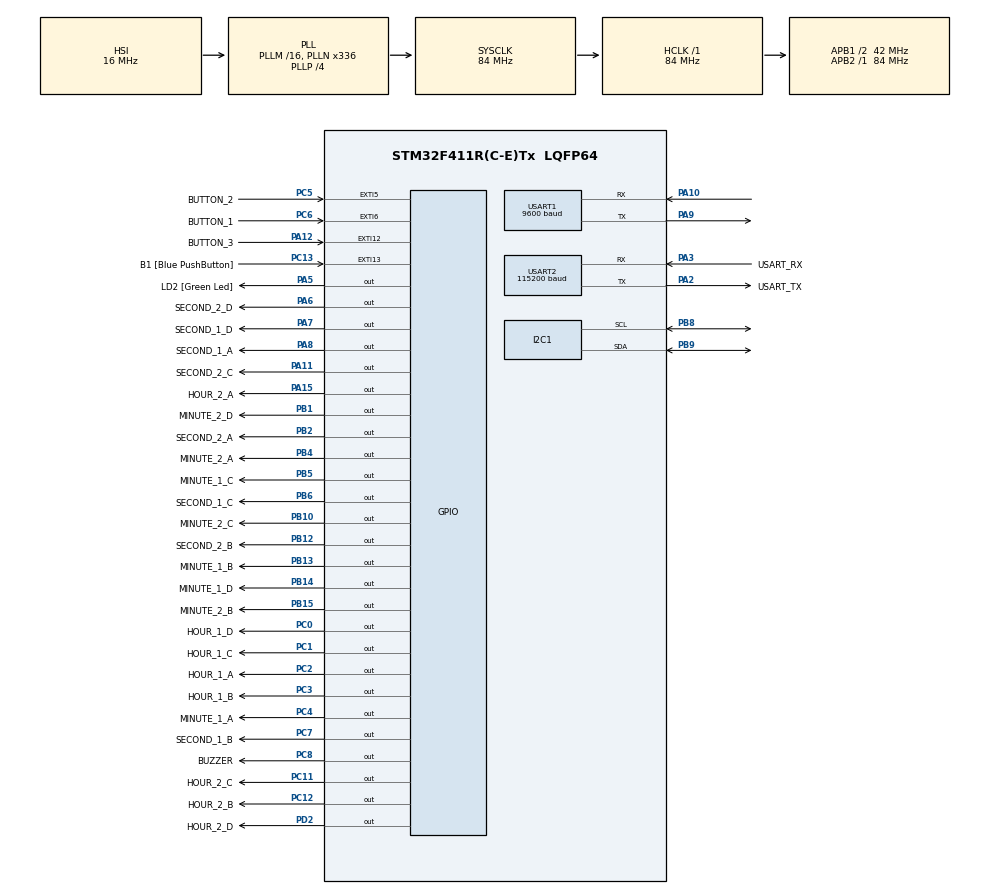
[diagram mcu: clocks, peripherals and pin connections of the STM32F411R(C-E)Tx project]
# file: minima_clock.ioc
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Mcu.Family=STM32F4
Mcu.Name=STM32F411R(C-E)Tx
Mcu.Package=LQFP64
NVIC.EXTI15_10_IRQn=true\:0\:0\:false\:false\:true\:true\:true
NVIC.EXTI9_5_IRQn=true\:0\:0\:false\:false\:true\:true\:true
NVIC.I2C1_EV_IRQn=true\:0\:0\:false\:false\:true\:true\:true
NVIC.PriorityGroup=NVIC_PRIORITYGROUP_0
NVIC.USART1_IRQn=true\:0\:0\:false\:false\:true\:true\:true
PA10.Mode=Asynchronous
PA10.Signal=USART1_RX
PA11.GPIO_Label=SECOND_2_C
PA11.Signal=GPIO_Output
PA12.GPIO_Label=BUTTON_3
PA12.GPIO_ModeDefaultEXTI=GPIO_MODE_IT_FALLING
PA12.GPIO_PuPd=GPIO_PULLUP
PA12.Signal=GPXTI12
PA13.GPIO_Label=TMS
PA13.Mode=Serial_Wire
PA13.Signal=SYS_JTMS-SWDIO
PA14.GPIO_Label=TCK
PA14.Mode=Serial_Wire
PA14.Signal=SYS_JTCK-SWCLK
PA15.GPIO_Label=HOUR_2_A
PA15.Signal=GPIO_Output
PA2.GPIO_Label=USART_TX
PA2.Mode=Asynchronous
PA2.Signal=USART2_TX
PA3.GPIO_Label=USART_RX
PA3.Mode=Asynchronous
PA3.Signal=USART2_RX
PA5.GPIO_Label=LD2 [Green Led]
PA5.Signal=GPIO_Output
PA6.GPIO_Label=SECOND_2_D
PA6.Signal=GPIO_Output
PA7.GPIO_Label=SECOND_1_D
PA7.Signal=GPIO_Output
PA8.GPIO_Label=SECOND_1_A
PA8.Signal=GPIO_Output
PA9.Mode=Asynchronous
PA9.Signal=USART1_TX
PB1.GPIO_Label=MINUTE_2_D
PB1.Signal=GPIO_Output
PB10.GPIO_Label=MINUTE_2_C
PB10.Signal=GPIO_Output
PB12.GPIO_Label=SECOND_2_B
PB12.Signal=GPIO_Output
PB13.GPIO_Label=MINUTE_1_B
PB13.Signal=GPIO_Output
PB14.GPIO_Label=MINUTE_1_D
PB14.Signal=GPIO_Output
PB15.GPIO_Label=MINUTE_2_B
PB15.Signal=GPIO_Output
PB2.GPIO_Label=SECOND_2_A
PB2.Signal=GPIO_Output
PB4.GPIO_Label=MINUTE_2_A
PB4.Signal=GPIO_Output
PB5.GPIO_Label=MINUTE_1_C
PB5.Signal=GPIO_Output
PB6.GPIO_Label=SECOND_1_C
PB6.Signal=GPIO_Output
PB8.Mode=I2C
PB8.Signal=I2C1_SCL
PB9.Mode=I2C
PB9.Signal=I2C1_SDA
PC0.GPIO_Label=HOUR_1_D
PC0.Signal=GPIO_Output
PC1.GPIO_Label=HOUR_1_C
PC1.Signal=GPIO_Output
PC11.GPIO_Label=HOUR_2_C
PC11.Signal=GPIO_Output
PC12.GPIO_Label=HOUR_2_B
PC12.Signal=GPIO_Output
PC13-ANTI_TAMP.GPIO_Label=B1 [Blue PushButton]
PC13-ANTI_TAMP.GPIO_ModeDefaultEXTI=GPIO_MODE_IT_FALLING
PC13-ANTI_TAMP.Signal=GPXTI13
PC14-OSC32_IN.Mode=LSE-External-Oscillator
PC14-OSC32_IN.Signal=RCC_OSC32_IN
PC15-OSC32_OUT.Mode=LSE-External-Oscillator
PC15-OSC32_OUT.Signal=RCC_OSC32_OUT
PC2.GPIO_Label=HOUR_1_A
PC2.Signal=GPIO_Output
PC3.GPIO_Label=HOUR_1_B
PC3.Signal=GPIO_Output
PC4.GPIO_Label=MINUTE_1_A
PC4.Signal=GPIO_Output
PC5.GPIO_Label=BUTTON_2
PC5.GPIO_ModeDefaultEXTI=GPIO_MODE_IT_FALLING
PC5.GPIO_PuPd=GPIO_PULLUP
PC5.Signal=GPXTI5
PC6.GPIO_Label=BUTTON_1
PC6.GPIO_ModeDefaultEXTI=GPIO_MODE_IT_FALLING
PC6.GPIO_PuPd=GPIO_PULLUP
PC6.Signal=GPXTI6
PC7.GPIO_Label=SECOND_1_B
PC7.Signal=GPIO_Output
PC8.GPIO_Label=BUZZER
PC8.Signal=GPIO_Output
PD2.GPIO_Label=HOUR_2_D
PD2.Signal=GPIO_Output
PH0\ -\ OSC_IN.Mode=HSE-External-Clock-Source
PH0\ -\ OSC_IN.Signal=RCC_OSC_IN
PH1\ -\ OSC_OUT.Mode=HSE-External-Clock-Source
PH1\ -\ OSC_OUT.Signal=RCC_OSC_OUT
ProjectManager.HeapSize=0x200
ProjectManager.StackSize=0x400
ProjectManager.TargetToolchain=STM32CubeIDE
RCC.48MHZClocksFreq_Value=84000000
RCC.AHBFreq_Value=84000000
RCC.APB1CLKDivider=RCC_HCLK_DIV2
RCC.APB1Freq_Value=42000000
RCC.APB1TimFreq_Value=84000000
RCC.APB2Freq_Value=84000000
RCC.APB2TimFreq_Value=84000000
RCC.CortexFreq_Value=84000000
RCC.FLatency-AdvancedSettings=FLASH_LATENCY_2
RCC.HCLKFreq_Value=84000000
RCC.HSE_VALUE=8000000
RCC.HSI_VALUE=16000000
RCC.PLLN=336
RCC.PLLP=RCC_PLLP_DIV4
RCC.SYSCLKFreq_VALUE=84000000
RCC.SYSCLKSource=RCC_SYSCLKSOURCE_PLLCLK
RCC.VCOOutputFreq_Value=336000000
USART1.BaudRate=9600
USART1.VirtualMode=VM_ASYNC
USART2.BaudRate=115200
USART2.VirtualMode=VM_ASYNC
board=NUCLEO-F411RE

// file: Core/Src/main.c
/* USER CODE BEGIN Header */
/**
 ******************************************************************************
 * @file           : main.c
 * @brief          : Main program body
 ******************************************************************************
 * @attention
 *
 ******************************************************************************
 */
/* USER CODE END Header */

#include "main.h"

/* USER CODE BEGIN Includes */
#include <DS3231.h>
#include <gps_neo6.h>
#include <stdio.h>
#include <stdarg.h>
#include <stdlib.h>
#include <string.h>
/* USER CODE END Includes */

I2C_HandleTypeDef hi2c1;

UART_HandleTypeDef huart1;
UART_HandleTypeDef huart2;

/* USER CODE BEGIN PV */

RTC_data rtc;	// Date and Time variable
RTC_setup rtc_setup;

uint8_t muttexButton1 = 0;
uint8_t muttexButton2 = 0;
uint8_t muttexButton3 = 0;
uint8_t configMode = 0;

uint8_t alarmHour = 0;
uint8_t alarmMinute = 0;
uint8_t alarmDeactivate = 0;

/** Config mode 1 */

signed short timeOffset = 0;

/* USER CODE END PV */

void SystemClock_Config(void);
static void MX_GPIO_Init(void);
static void MX_USART2_UART_Init(void);
static void MX_I2C1_Init(void);
static void MX_USART1_UART_Init(void);
/* USER CODE BEGIN PFP */
/*
 void vprint(const char *fmt, va_list argp) {
 char string[200];
 if (0 < vsprintf(string, fmt, argp)) // build string
 {
 HAL_UART_Transmit(&huart2, (uint8_t*) string, strlen(string), 0xffffff); // send message via UART
 }
 }

 void my_printf(const char *fmt, ...) // custom printf() function
 {
 va_list argp;
 va_start(argp, fmt);
 vprint(fmt, argp);
 va_end(argp);
 }
 */
/* USER CODE END PFP */

/* USER CODE BEGIN 0 */

void SprintHour_1(int digit) {
	switch (digit) {
	case 0:
		HAL_GPIO_WritePin(HOUR_1_D_GPIO_Port, HOUR_1_D_Pin, GPIO_PIN_RESET);
		HAL_GPIO_WritePin(HOUR_1_C_GPIO_Port, HOUR_1_C_Pin, GPIO_PIN_RESET);
		HAL_GPIO_WritePin(HOUR_1_B_GPIO_Port, HOUR_1_B_Pin, GPIO_PIN_RESET);
		HAL_GPIO_WritePin(HOUR_1_A_GPIO_Port, HOUR_1_A_Pin, GPIO_PIN_RESET);
		break;
	case 1:
		HAL_GPIO_WritePin(HOUR_1_D_GPIO_Port, HOUR_1_D_Pin, GPIO_PIN_RESET);
		HAL_GPIO_WritePin(HOUR_1_C_GPIO_Port, HOUR_1_C_Pin, GPIO_PIN_RESET);
		HAL_GPIO_WritePin(HOUR_1_B_GPIO_Port, HOUR_1_B_Pin, GPIO_PIN_RESET);
		HAL_GPIO_WritePin(HOUR_1_A_GPIO_Port, HOUR_1_A_Pin, GPIO_PIN_SET);
		break;
	case 2:
		HAL_GPIO_WritePin(HOUR_1_D_GPIO_Port, HOUR_1_D_Pin, GPIO_PIN_RESET);
		HAL_GPIO_WritePin(HOUR_1_C_GPIO_Port, HOUR_1_C_Pin, GPIO_PIN_RESET);
		HAL_GPIO_WritePin(HOUR_1_B_GPIO_Port, HOUR_1_B_Pin, GPIO_PIN_SET);
		HAL_GPIO_WritePin(HOUR_1_A_GPIO_Port, HOUR_1_A_Pin, GPIO_PIN_RESET);
		break;
	case 3:
		HAL_GPIO_WritePin(HOUR_1_D_GPIO_Port, HOUR_1_D_Pin, GPIO_PIN_RESET);
		HAL_GPIO_WritePin(HOUR_1_C_GPIO_Port, HOUR_1_C_Pin, GPIO_PIN_RESET);
		HAL_GPIO_WritePin(HOUR_1_B_GPIO_Port, HOUR_1_B_Pin, GPIO_PIN_SET);
		HAL_GPIO_WritePin(HOUR_1_A_GPIO_Port, HOUR_1_A_Pin, GPIO_PIN_SET);
		break;
	case 4:
		HAL_GPIO_WritePin(HOUR_1_D_GPIO_Port, HOUR_1_D_Pin, GPIO_PIN_RESET);
		HAL_GPIO_WritePin(HOUR_1_C_GPIO_Port, HOUR_1_C_Pin, GPIO_PIN_SET);
		HAL_GPIO_WritePin(HOUR_1_B_GPIO_Port, HOUR_1_B_Pin, GPIO_PIN_RESET);
		HAL_GPIO_WritePin(HOUR_1_A_GPIO_Port, HOUR_1_A_Pin, GPIO_PIN_RESET);
		break;
	case 5:
		HAL_GPIO_WritePin(HOUR_1_D_GPIO_Port, HOUR_1_D_Pin, GPIO_PIN_RESET);
		HAL_GPIO_WritePin(HOUR_1_C_GPIO_Port, HOUR_1_C_Pin, GPIO_PIN_SET);
		HAL_GPIO_WritePin(HOUR_1_B_GPIO_Port, HOUR_1_B_Pin, GPIO_PIN_RESET);
		HAL_GPIO_WritePin(HOUR_1_A_GPIO_Port, HOUR_1_A_Pin, GPIO_PIN_SET);
		break;
	case 6:
		HAL_GPIO_WritePin(HOUR_1_D_GPIO_Port, HOUR_1_D_Pin, GPIO_PIN_RESET);
		HAL_GPIO_WritePin(HOUR_1_C_GPIO_Port, HOUR_1_C_Pin, GPIO_PIN_SET);
		HAL_GPIO_WritePin(HOUR_1_B_GPIO_Port, HOUR_1_B_Pin, GPIO_PIN_SET);
		HAL_GPIO_WritePin(HOUR_1_A_GPIO_Port, HOUR_1_A_Pin, GPIO_PIN_RESET);
		break;
	case 7:
		HAL_GPIO_WritePin(HOUR_1_D_GPIO_Port, HOUR_1_D_Pin, GPIO_PIN_RESET);
		HAL_GPIO_WritePin(HOUR_1_C_GPIO_Port, HOUR_1_C_Pin, GPIO_PIN_SET);
		HAL_GPIO_WritePin(HOUR_1_B_GPIO_Port, HOUR_1_B_Pin, GPIO_PIN_SET);
		HAL_GPIO_WritePin(HOUR_1_A_GPIO_Port, HOUR_1_A_Pin, GPIO_PIN_SET);
		break;
	case 8:
		HAL_GPIO_WritePin(HOUR_1_D_GPIO_Port, HOUR_1_D_Pin, GPIO_PIN_SET);
		HAL_GPIO_WritePin(HOUR_1_C_GPIO_Port, HOUR_1_C_Pin, GPIO_PIN_RESET);
		HAL_GPIO_WritePin(HOUR_1_B_GPIO_Port, HOUR_1_B_Pin, GPIO_PIN_RESET);
		HAL_GPIO_WritePin(HOUR_1_A_GPIO_Port, HOUR_1_A_Pin, GPIO_PIN_RESET);
		break;
	case 9:
		HAL_GPIO_WritePin(HOUR_1_D_GPIO_Port, HOUR_1_D_Pin, GPIO_PIN_SET);
		HAL_GPIO_WritePin(HOUR_1_C_GPIO_Port, HOUR_1_C_Pin, GPIO_PIN_RESET);
		HAL_GPIO_WritePin(HOUR_1_B_GPIO_Port, HOUR_1_B_Pin, GPIO_PIN_RESET);
		HAL_GPIO_WritePin(HOUR_1_A_GPIO_Port, HOUR_1_A_Pin, GPIO_PIN_SET);
		break;
	default:
		break;
	}
}

void SprintHour_2(int digit) {
	switch (digit) {
	case 0:
		HAL_GPIO_WritePin(HOUR_2_D_GPIO_Port, HOUR_2_D_Pin, GPIO_PIN_RESET);
		HAL_GPIO_WritePin(HOUR_2_C_GPIO_Port, HOUR_2_C_Pin, GPIO_PIN_RESET);
		HAL_GPIO_WritePin(HOUR_2_B_GPIO_Port, HOUR_2_B_Pin, GPIO_PIN_RESET);
		HAL_GPIO_WritePin(HOUR_2_A_GPIO_Port, HOUR_2_A_Pin, GPIO_PIN_RESET);
		break;
	case 1:
		HAL_GPIO_WritePin(HOUR_2_D_GPIO_Port, HOUR_2_D_Pin, GPIO_PIN_RESET);
		HAL_GPIO_WritePin(HOUR_2_C_GPIO_Port, HOUR_2_C_Pin, GPIO_PIN_RESET);
		HAL_GPIO_WritePin(HOUR_2_B_GPIO_Port, HOUR_2_B_Pin, GPIO_PIN_RESET);
		HAL_GPIO_WritePin(HOUR_2_A_GPIO_Port, HOUR_2_A_Pin, GPIO_PIN_SET);
		break;
	case 2:
		HAL_GPIO_WritePin(HOUR_2_D_GPIO_Port, HOUR_2_D_Pin, GPIO_PIN_RESET);
		HAL_GPIO_WritePin(HOUR_2_C_GPIO_Port, HOUR_2_C_Pin, GPIO_PIN_RESET);
		HAL_GPIO_WritePin(HOUR_2_B_GPIO_Port, HOUR_2_B_Pin, GPIO_PIN_SET);
		HAL_GPIO_WritePin(HOUR_2_A_GPIO_Port, HOUR_2_A_Pin, GPIO_PIN_RESET);
		break;
	case 3:
		HAL_GPIO_WritePin(HOUR_2_D_GPIO_Port, HOUR_2_D_Pin, GPIO_PIN_RESET);
		HAL_GPIO_WritePin(HOUR_2_C_GPIO_Port, HOUR_2_C_Pin, GPIO_PIN_RESET);
		HAL_GPIO_WritePin(HOUR_2_B_GPIO_Port, HOUR_2_B_Pin, GPIO_PIN_SET);
		HAL_GPIO_WritePin(HOUR_2_A_GPIO_Port, HOUR_2_A_Pin, GPIO_PIN_SET);
		break;
	case 4:
		HAL_GPIO_WritePin(HOUR_2_D_GPIO_Port, HOUR_2_D_Pin, GPIO_PIN_RESET);
		HAL_GPIO_WritePin(HOUR_2_C_GPIO_Port, HOUR_2_C_Pin, GPIO_PIN_SET);
		HAL_GPIO_WritePin(HOUR_2_B_GPIO_Port, HOUR_2_B_Pin, GPIO_PIN_RESET);
		HAL_GPIO_WritePin(HOUR_2_A_GPIO_Port, HOUR_2_A_Pin, GPIO_PIN_RESET);
		break;
	case 5:
		HAL_GPIO_WritePin(HOUR_2_D_GPIO_Port, HOUR_2_D_Pin, GPIO_PIN_RESET);
		HAL_GPIO_WritePin(HOUR_2_C_GPIO_Port, HOUR_2_C_Pin, GPIO_PIN_SET);
		HAL_GPIO_WritePin(HOUR_2_B_GPIO_Port, HOUR_2_B_Pin, GPIO_PIN_RESET);
		HAL_GPIO_WritePin(HOUR_2_A_GPIO_Port, HOUR_2_A_Pin, GPIO_PIN_SET);
		break;
	case 6:
		HAL_GPIO_WritePin(HOUR_2_D_GPIO_Port, HOUR_2_D_Pin, GPIO_PIN_RESET);
		HAL_GPIO_WritePin(HOUR_2_C_GPIO_Port, HOUR_2_C_Pin, GPIO_PIN_SET);
		HAL_GPIO_WritePin(HOUR_2_B_GPIO_Port, HOUR_2_B_Pin, GPIO_PIN_SET);
		HAL_GPIO_WritePin(HOUR_2_A_GPIO_Port, HOUR_2_A_Pin, GPIO_PIN_RESET);
		break;
	case 7:
		HAL_GPIO_WritePin(HOUR_2_D_GPIO_Port, HOUR_2_D_Pin, GPIO_PIN_RESET);
		HAL_GPIO_WritePin(HOUR_2_C_GPIO_Port, HOUR_2_C_Pin, GPIO_PIN_SET);
		HAL_GPIO_WritePin(HOUR_2_B_GPIO_Port, HOUR_2_B_Pin, GPIO_PIN_SET);
		HAL_GPIO_WritePin(HOUR_2_A_GPIO_Port, HOUR_2_A_Pin, GPIO_PIN_SET);
		break;
	case 8:
		HAL_GPIO_WritePin(HOUR_2_D_GPIO_Port, HOUR_2_D_Pin, GPIO_PIN_SET);
		HAL_GPIO_WritePin(HOUR_2_C_GPIO_Port, HOUR_2_C_Pin, GPIO_PIN_RESET);
		HAL_GPIO_WritePin(HOUR_2_B_GPIO_Port, HOUR_2_B_Pin, GPIO_PIN_RESET);
		HAL_GPIO_WritePin(HOUR_2_A_GPIO_Port, HOUR_2_A_Pin, GPIO_PIN_RESET);
		break;
	case 9:
		HAL_GPIO_WritePin(HOUR_2_D_GPIO_Port, HOUR_2_D_Pin, GPIO_PIN_SET);
		HAL_GPIO_WritePin(HOUR_2_C_GPIO_Port, HOUR_2_C_Pin, GPIO_PIN_RESET);
		HAL_GPIO_WritePin(HOUR_2_B_GPIO_Port, HOUR_2_B_Pin, GPIO_PIN_RESET);
		HAL_GPIO_WritePin(HOUR_2_A_GPIO_Port, HOUR_2_A_Pin, GPIO_PIN_SET);
		break;
	default:
		break;
	}
}

void SprintMinute_1(int digit) {
	switch (digit) {
	case 0:
		HAL_GPIO_WritePin(MINUTE_1_D_GPIO_Port, MINUTE_1_D_Pin, GPIO_PIN_RESET);
		HAL_GPIO_WritePin(MINUTE_1_C_GPIO_Port, MINUTE_1_C_Pin, GPIO_PIN_RESET);
		HAL_GPIO_WritePin(MINUTE_1_B_GPIO_Port, MINUTE_1_B_Pin, GPIO_PIN_RESET);
		HAL_GPIO_WritePin(MINUTE_1_A_GPIO_Port, MINUTE_1_A_Pin, GPIO_PIN_RESET);
		break;
	case 1:
		HAL_GPIO_WritePin(MINUTE_1_D_GPIO_Port, MINUTE_1_D_Pin, GPIO_PIN_RESET);
		HAL_GPIO_WritePin(MINUTE_1_C_GPIO_Port, MINUTE_1_C_Pin, GPIO_PIN_RESET);
		HAL_GPIO_WritePin(MINUTE_1_B_GPIO_Port, MINUTE_1_B_Pin, GPIO_PIN_RESET);
		HAL_GPIO_WritePin(MINUTE_1_A_GPIO_Port, MINUTE_1_A_Pin, GPIO_PIN_SET);
		break;
	case 2:
		HAL_GPIO_WritePin(MINUTE_1_D_GPIO_Port, MINUTE_1_D_Pin, GPIO_PIN_RESET);
		HAL_GPIO_WritePin(MINUTE_1_C_GPIO_Port, MINUTE_1_C_Pin, GPIO_PIN_RESET);
		HAL_GPIO_WritePin(MINUTE_1_B_GPIO_Port, MINUTE_1_B_Pin, GPIO_PIN_SET);
		HAL_GPIO_WritePin(MINUTE_1_A_GPIO_Port, MINUTE_1_A_Pin, GPIO_PIN_RESET);
		break;
	case 3:
		HAL_GPIO_WritePin(MINUTE_1_D_GPIO_Port, MINUTE_1_D_Pin, GPIO_PIN_RESET);
		HAL_GPIO_WritePin(MINUTE_1_C_GPIO_Port, MINUTE_1_C_Pin, GPIO_PIN_RESET);
		HAL_GPIO_WritePin(MINUTE_1_B_GPIO_Port, MINUTE_1_B_Pin, GPIO_PIN_SET);
		HAL_GPIO_WritePin(MINUTE_1_A_GPIO_Port, MINUTE_1_A_Pin, GPIO_PIN_SET);
		break;
	case 4:
		HAL_GPIO_WritePin(MINUTE_1_D_GPIO_Port, MINUTE_1_D_Pin, GPIO_PIN_RESET);
		HAL_GPIO_WritePin(MINUTE_1_C_GPIO_Port, MINUTE_1_C_Pin, GPIO_PIN_SET);
		HAL_GPIO_WritePin(MINUTE_1_B_GPIO_Port, MINUTE_1_B_Pin, GPIO_PIN_RESET);
		HAL_GPIO_WritePin(MINUTE_1_A_GPIO_Port, MINUTE_1_A_Pin, GPIO_PIN_RESET);
		break;
	case 5:
		HAL_GPIO_WritePin(MINUTE_1_D_GPIO_Port, MINUTE_1_D_Pin, GPIO_PIN_RESET);
		HAL_GPIO_WritePin(MINUTE_1_C_GPIO_Port, MINUTE_1_C_Pin, GPIO_PIN_SET);
		HAL_GPIO_WritePin(MINUTE_1_B_GPIO_Port, MINUTE_1_B_Pin, GPIO_PIN_RESET);
		HAL_GPIO_WritePin(MINUTE_1_A_GPIO_Port, MINUTE_1_A_Pin, GPIO_PIN_SET);
		break;
	case 6:
		HAL_GPIO_WritePin(MINUTE_1_D_GPIO_Port, MINUTE_1_D_Pin, GPIO_PIN_RESET);
		HAL_GPIO_WritePin(MINUTE_1_C_GPIO_Port, MINUTE_1_C_Pin, GPIO_PIN_SET);
		HAL_GPIO_WritePin(MINUTE_1_B_GPIO_Port, MINUTE_1_B_Pin, GPIO_PIN_SET);
		HAL_GPIO_WritePin(MINUTE_1_A_GPIO_Port, MINUTE_1_A_Pin, GPIO_PIN_RESET);
		break;
	case 7:
		HAL_GPIO_WritePin(MINUTE_1_D_GPIO_Port, MINUTE_1_D_Pin, GPIO_PIN_RESET);
		HAL_GPIO_WritePin(MINUTE_1_C_GPIO_Port, MINUTE_1_C_Pin, GPIO_PIN_SET);
		HAL_GPIO_WritePin(MINUTE_1_B_GPIO_Port, MINUTE_1_B_Pin, GPIO_PIN_SET);
		HAL_GPIO_WritePin(MINUTE_1_A_GPIO_Port, MINUTE_1_A_Pin, GPIO_PIN_SET);
		break;
	case 8:
		HAL_GPIO_WritePin(MINUTE_1_D_GPIO_Port, MINUTE_1_D_Pin, GPIO_PIN_SET);
		HAL_GPIO_WritePin(MINUTE_1_C_GPIO_Port, MINUTE_1_C_Pin, GPIO_PIN_RESET);
		HAL_GPIO_WritePin(MINUTE_1_B_GPIO_Port, MINUTE_1_B_Pin, GPIO_PIN_RESET);
		HAL_GPIO_WritePin(MINUTE_1_A_GPIO_Port, MINUTE_1_A_Pin, GPIO_PIN_RESET);
		break;
	case 9:
		HAL_GPIO_WritePin(MINUTE_1_D_GPIO_Port, MINUTE_1_D_Pin, GPIO_PIN_SET);
		HAL_GPIO_WritePin(MINUTE_1_C_GPIO_Port, MINUTE_1_C_Pin, GPIO_PIN_RESET);
		HAL_GPIO_WritePin(MINUTE_1_B_GPIO_Port, MINUTE_1_B_Pin, GPIO_PIN_RESET);
		HAL_GPIO_WritePin(MINUTE_1_A_GPIO_Port, MINUTE_1_A_Pin, GPIO_PIN_SET);
		break;
	default:
		break;
	}
}

void SprintMinute_2(int digit) {
	switch (digit) {
	case 0:
		HAL_GPIO_WritePin(MINUTE_2_D_GPIO_Port, MINUTE_2_D_Pin, GPIO_PIN_RESET);
		HAL_GPIO_WritePin(MINUTE_2_C_GPIO_Port, MINUTE_2_C_Pin, GPIO_PIN_RESET);
		HAL_GPIO_WritePin(MINUTE_2_B_GPIO_Port, MINUTE_2_B_Pin, GPIO_PIN_RESET);
		HAL_GPIO_WritePin(MINUTE_2_A_GPIO_Port, MINUTE_2_A_Pin, GPIO_PIN_RESET);
		break;
	case 1:
		HAL_GPIO_WritePin(MINUTE_2_D_GPIO_Port, MINUTE_2_D_Pin, GPIO_PIN_RESET);
		HAL_GPIO_WritePin(MINUTE_2_C_GPIO_Port, MINUTE_2_C_Pin, GPIO_PIN_RESET);
		HAL_GPIO_WritePin(MINUTE_2_B_GPIO_Port, MINUTE_2_B_Pin, GPIO_PIN_RESET);
		HAL_GPIO_WritePin(MINUTE_2_A_GPIO_Port, MINUTE_2_A_Pin, GPIO_PIN_SET);
		break;
	case 2:
		HAL_GPIO_WritePin(MINUTE_2_D_GPIO_Port, MINUTE_2_D_Pin, GPIO_PIN_RESET);
		HAL_GPIO_WritePin(MINUTE_2_C_GPIO_Port, MINUTE_2_C_Pin, GPIO_PIN_RESET);
		HAL_GPIO_WritePin(MINUTE_2_B_GPIO_Port, MINUTE_2_B_Pin, GPIO_PIN_SET);
		HAL_GPIO_WritePin(MINUTE_2_A_GPIO_Port, MINUTE_2_A_Pin, GPIO_PIN_RESET);
		break;
	case 3:
		HAL_GPIO_WritePin(MINUTE_2_D_GPIO_Port, MINUTE_2_D_Pin, GPIO_PIN_RESET);
		HAL_GPIO_WritePin(MINUTE_2_C_GPIO_Port, MINUTE_2_C_Pin, GPIO_PIN_RESET);
		HAL_GPIO_WritePin(MINUTE_2_B_GPIO_Port, MINUTE_2_B_Pin, GPIO_PIN_SET);
		HAL_GPIO_WritePin(MINUTE_2_A_GPIO_Port, MINUTE_2_A_Pin, GPIO_PIN_SET);
		break;
	case 4:
		HAL_GPIO_WritePin(MINUTE_2_D_GPIO_Port, MINUTE_2_D_Pin, GPIO_PIN_RESET);
		HAL_GPIO_WritePin(MINUTE_2_C_GPIO_Port, MINUTE_2_C_Pin, GPIO_PIN_SET);
		HAL_GPIO_WritePin(MINUTE_2_B_GPIO_Port, MINUTE_2_B_Pin, GPIO_PIN_RESET);
		HAL_GPIO_WritePin(MINUTE_2_A_GPIO_Port, MINUTE_2_A_Pin, GPIO_PIN_RESET);
		break;
	case 5:
		HAL_GPIO_WritePin(MINUTE_2_D_GPIO_Port, MINUTE_2_D_Pin, GPIO_PIN_RESET);
		HAL_GPIO_WritePin(MINUTE_2_C_GPIO_Port, MINUTE_2_C_Pin, GPIO_PIN_SET);
		HAL_GPIO_WritePin(MINUTE_2_B_GPIO_Port, MINUTE_2_B_Pin, GPIO_PIN_RESET);
		HAL_GPIO_WritePin(MINUTE_2_A_GPIO_Port, MINUTE_2_A_Pin, GPIO_PIN_SET);
		break;
	case 6:
		HAL_GPIO_WritePin(MINUTE_2_D_GPIO_Port, MINUTE_2_D_Pin, GPIO_PIN_RESET);
		HAL_GPIO_WritePin(MINUTE_2_C_GPIO_Port, MINUTE_2_C_Pin, GPIO_PIN_SET);
		HAL_GPIO_WritePin(MINUTE_2_B_GPIO_Port, MINUTE_2_B_Pin, GPIO_PIN_SET);
		HAL_GPIO_WritePin(MINUTE_2_A_GPIO_Port, MINUTE_2_A_Pin, GPIO_PIN_RESET);
		break;
	case 7:
		HAL_GPIO_WritePin(MINUTE_2_D_GPIO_Port, MINUTE_2_D_Pin, GPIO_PIN_RESET);
		HAL_GPIO_WritePin(MINUTE_2_C_GPIO_Port, MINUTE_2_C_Pin, GPIO_PIN_SET);
		HAL_GPIO_WritePin(MINUTE_2_B_GPIO_Port, MINUTE_2_B_Pin, GPIO_PIN_SET);
		HAL_GPIO_WritePin(MINUTE_2_A_GPIO_Port, MINUTE_2_A_Pin, GPIO_PIN_SET);
		break;
	case 8:
		HAL_GPIO_WritePin(MINUTE_2_D_GPIO_Port, MINUTE_2_D_Pin, GPIO_PIN_SET);
		HAL_GPIO_WritePin(MINUTE_2_C_GPIO_Port, MINUTE_2_C_Pin, GPIO_PIN_RESET);
		HAL_GPIO_WritePin(MINUTE_2_B_GPIO_Port, MINUTE_2_B_Pin, GPIO_PIN_RESET);
		HAL_GPIO_WritePin(MINUTE_2_A_GPIO_Port, MINUTE_2_A_Pin, GPIO_PIN_RESET);
		break;
	case 9:
		HAL_GPIO_WritePin(MINUTE_2_D_GPIO_Port, MINUTE_2_D_Pin, GPIO_PIN_SET);
		HAL_GPIO_WritePin(MINUTE_2_C_GPIO_Port, MINUTE_2_C_Pin, GPIO_PIN_RESET);
		HAL_GPIO_WritePin(MINUTE_2_B_GPIO_Port, MINUTE_2_B_Pin, GPIO_PIN_RESET);
		HAL_GPIO_WritePin(MINUTE_2_A_GPIO_Port, MINUTE_2_A_Pin, GPIO_PIN_SET);
		break;
	default:
		break;
	}
}

void SprintSecond_1(int digit) {
	switch (digit) {
	case 0:
		HAL_GPIO_WritePin(SECOND_1_D_GPIO_Port, SECOND_1_D_Pin, GPIO_PIN_RESET);
		HAL_GPIO_WritePin(SECOND_1_C_GPIO_Port, SECOND_1_C_Pin, GPIO_PIN_RESET);
		HAL_GPIO_WritePin(SECOND_1_B_GPIO_Port, SECOND_1_B_Pin, GPIO_PIN_RESET);
		HAL_GPIO_WritePin(SECOND_1_A_GPIO_Port, SECOND_1_A_Pin, GPIO_PIN_RESET);
		break;
	case 1:
		HAL_GPIO_WritePin(SECOND_1_D_GPIO_Port, SECOND_1_D_Pin, GPIO_PIN_RESET);
		HAL_GPIO_WritePin(SECOND_1_C_GPIO_Port, SECOND_1_C_Pin, GPIO_PIN_RESET);
		HAL_GPIO_WritePin(SECOND_1_B_GPIO_Port, SECOND_1_B_Pin, GPIO_PIN_RESET);
		HAL_GPIO_WritePin(SECOND_1_A_GPIO_Port, SECOND_1_A_Pin, GPIO_PIN_SET);
		break;
	case 2:
		HAL_GPIO_WritePin(SECOND_1_D_GPIO_Port, SECOND_1_D_Pin, GPIO_PIN_RESET);
		HAL_GPIO_WritePin(SECOND_1_C_GPIO_Port, SECOND_1_C_Pin, GPIO_PIN_RESET);
		HAL_GPIO_WritePin(SECOND_1_B_GPIO_Port, SECOND_1_B_Pin, GPIO_PIN_SET);
		HAL_GPIO_WritePin(SECOND_1_A_GPIO_Port, SECOND_1_A_Pin, GPIO_PIN_RESET);
		break;
	case 3:
		HAL_GPIO_WritePin(SECOND_1_D_GPIO_Port, SECOND_1_D_Pin, GPIO_PIN_RESET);
		HAL_GPIO_WritePin(SECOND_1_C_GPIO_Port, SECOND_1_C_Pin, GPIO_PIN_RESET);
		HAL_GPIO_WritePin(SECOND_1_B_GPIO_Port, SECOND_1_B_Pin, GPIO_PIN_SET);
		HAL_GPIO_WritePin(SECOND_1_A_GPIO_Port, SECOND_1_A_Pin, GPIO_PIN_SET);
		break;
	case 4:
		HAL_GPIO_WritePin(SECOND_1_D_GPIO_Port, SECOND_1_D_Pin, GPIO_PIN_RESET);
		HAL_GPIO_WritePin(SECOND_1_C_GPIO_Port, SECOND_1_C_Pin, GPIO_PIN_SET);
		HAL_GPIO_WritePin(SECOND_1_B_GPIO_Port, SECOND_1_B_Pin, GPIO_PIN_RESET);
		HAL_GPIO_WritePin(SECOND_1_A_GPIO_Port, SECOND_1_A_Pin, GPIO_PIN_RESET);
		break;
	case 5:
		HAL_GPIO_WritePin(SECOND_1_D_GPIO_Port, SECOND_1_D_Pin, GPIO_PIN_RESET);
		HAL_GPIO_WritePin(SECOND_1_C_GPIO_Port, SECOND_1_C_Pin, GPIO_PIN_SET);
		HAL_GPIO_WritePin(SECOND_1_B_GPIO_Port, SECOND_1_B_Pin, GPIO_PIN_RESET);
		HAL_GPIO_WritePin(SECOND_1_A_GPIO_Port, SECOND_1_A_Pin, GPIO_PIN_SET);
		break;
	case 6:
		HAL_GPIO_WritePin(SECOND_1_D_GPIO_Port, SECOND_1_D_Pin, GPIO_PIN_RESET);
		HAL_GPIO_WritePin(SECOND_1_C_GPIO_Port, SECOND_1_C_Pin, GPIO_PIN_SET);
		HAL_GPIO_WritePin(SECOND_1_B_GPIO_Port, SECOND_1_B_Pin, GPIO_PIN_SET);
		HAL_GPIO_WritePin(SECOND_1_A_GPIO_Port, SECOND_1_A_Pin, GPIO_PIN_RESET);
		break;
	case 7:
		HAL_GPIO_WritePin(SECOND_1_D_GPIO_Port, SECOND_1_D_Pin, GPIO_PIN_RESET);
		HAL_GPIO_WritePin(SECOND_1_C_GPIO_Port, SECOND_1_C_Pin, GPIO_PIN_SET);
		HAL_GPIO_WritePin(SECOND_1_B_GPIO_Port, SECOND_1_B_Pin, GPIO_PIN_SET);
		HAL_GPIO_WritePin(SECOND_1_A_GPIO_Port, SECOND_1_A_Pin, GPIO_PIN_SET);
		break;
	case 8:
		HAL_GPIO_WritePin(SECOND_1_D_GPIO_Port, SECOND_1_D_Pin, GPIO_PIN_SET);
		HAL_GPIO_WritePin(SECOND_1_C_GPIO_Port, SECOND_1_C_Pin, GPIO_PIN_RESET);
		HAL_GPIO_WritePin(SECOND_1_B_GPIO_Port, SECOND_1_B_Pin, GPIO_PIN_RESET);
		HAL_GPIO_WritePin(SECOND_1_A_GPIO_Port, SECOND_1_A_Pin, GPIO_PIN_RESET);
		break;
	case 9:
		HAL_GPIO_WritePin(SECOND_1_D_GPIO_Port, SECOND_1_D_Pin, GPIO_PIN_SET);
		HAL_GPIO_WritePin(SECOND_1_C_GPIO_Port, SECOND_1_C_Pin, GPIO_PIN_RESET);
		HAL_GPIO_WritePin(SECOND_1_B_GPIO_Port, SECOND_1_B_Pin, GPIO_PIN_RESET);
		HAL_GPIO_WritePin(SECOND_1_A_GPIO_Port, SECOND_1_A_Pin, GPIO_PIN_SET);
		break;
	default:
		break;
	}
}

void SprintSecond_2(int digit) {
	switch (digit) {
	case 0:
		HAL_GPIO_WritePin(SECOND_2_D_GPIO_Port, SECOND_2_D_Pin, GPIO_PIN_RESET);
		HAL_GPIO_WritePin(SECOND_2_C_GPIO_Port, SECOND_2_C_Pin, GPIO_PIN_RESET);
		HAL_GPIO_WritePin(SECOND_2_B_GPIO_Port, SECOND_2_B_Pin, GPIO_PIN_RESET);
		HAL_GPIO_WritePin(SECOND_2_A_GPIO_Port, SECOND_2_A_Pin, GPIO_PIN_RESET);
		break;
	case 1:
		HAL_GPIO_WritePin(SECOND_2_D_GPIO_Port, SECOND_2_D_Pin, GPIO_PIN_RESET);
		HAL_GPIO_WritePin(SECOND_2_C_GPIO_Port, SECOND_2_C_Pin, GPIO_PIN_RESET);
		HAL_GPIO_WritePin(SECOND_2_B_GPIO_Port, SECOND_2_B_Pin, GPIO_PIN_RESET);
		HAL_GPIO_WritePin(SECOND_2_A_GPIO_Port, SECOND_2_A_Pin, GPIO_PIN_SET);
		break;
	case 2:
		HAL_GPIO_WritePin(SECOND_2_D_GPIO_Port, SECOND_2_D_Pin, GPIO_PIN_RESET);
		HAL_GPIO_WritePin(SECOND_2_C_GPIO_Port, SECOND_2_C_Pin, GPIO_PIN_RESET);
		HAL_GPIO_WritePin(SECOND_2_B_GPIO_Port, SECOND_2_B_Pin, GPIO_PIN_SET);
		HAL_GPIO_WritePin(SECOND_2_A_GPIO_Port, SECOND_2_A_Pin, GPIO_PIN_RESET);
		break;
	case 3:
		HAL_GPIO_WritePin(SECOND_2_D_GPIO_Port, SECOND_2_D_Pin, GPIO_PIN_RESET);
		HAL_GPIO_WritePin(SECOND_2_C_GPIO_Port, SECOND_2_C_Pin, GPIO_PIN_RESET);
		HAL_GPIO_WritePin(SECOND_2_B_GPIO_Port, SECOND_2_B_Pin, GPIO_PIN_SET);
		HAL_GPIO_WritePin(SECOND_2_A_GPIO_Port, SECOND_2_A_Pin, GPIO_PIN_SET);
		break;
	case 4:
		HAL_GPIO_WritePin(SECOND_2_D_GPIO_Port, SECOND_2_D_Pin, GPIO_PIN_RESET);
		HAL_GPIO_WritePin(SECOND_2_C_GPIO_Port, SECOND_2_C_Pin, GPIO_PIN_SET);
		HAL_GPIO_WritePin(SECOND_2_B_GPIO_Port, SECOND_2_B_Pin, GPIO_PIN_RESET);
		HAL_GPIO_WritePin(SECOND_2_A_GPIO_Port, SECOND_2_A_Pin, GPIO_PIN_RESET);
		break;
	case 5:
		HAL_GPIO_WritePin(SECOND_2_D_GPIO_Port, SECOND_2_D_Pin, GPIO_PIN_RESET);
		HAL_GPIO_WritePin(SECOND_2_C_GPIO_Port, SECOND_2_C_Pin, GPIO_PIN_SET);
		HAL_GPIO_WritePin(SECOND_2_B_GPIO_Port, SECOND_2_B_Pin, GPIO_PIN_RESET);
		HAL_GPIO_WritePin(SECOND_2_A_GPIO_Port, SECOND_2_A_Pin, GPIO_PIN_SET);
		break;
	case 6:
		HAL_GPIO_WritePin(SECOND_2_D_GPIO_Port, SECOND_2_D_Pin, GPIO_PIN_RESET);
		HAL_GPIO_WritePin(SECOND_2_C_GPIO_Port, SECOND_2_C_Pin, GPIO_PIN_SET);
		HAL_GPIO_WritePin(SECOND_2_B_GPIO_Port, SECOND_2_B_Pin, GPIO_PIN_SET);
		HAL_GPIO_WritePin(SECOND_2_A_GPIO_Port, SECOND_2_A_Pin, GPIO_PIN_RESET);
		break;
	case 7:
		HAL_GPIO_WritePin(SECOND_2_D_GPIO_Port, SECOND_2_D_Pin, GPIO_PIN_RESET);
		HAL_GPIO_WritePin(SECOND_2_C_GPIO_Port, SECOND_2_C_Pin, GPIO_PIN_SET);
		HAL_GPIO_WritePin(SECOND_2_B_GPIO_Port, SECOND_2_B_Pin, GPIO_PIN_SET);
		HAL_GPIO_WritePin(SECOND_2_A_GPIO_Port, SECOND_2_A_Pin, GPIO_PIN_SET);
		break;
	case 8:
		HAL_GPIO_WritePin(SECOND_2_D_GPIO_Port, SECOND_2_D_Pin, GPIO_PIN_SET);
		HAL_GPIO_WritePin(SECOND_2_C_GPIO_Port, SECOND_2_C_Pin, GPIO_PIN_RESET);
		HAL_GPIO_WritePin(SECOND_2_B_GPIO_Port, SECOND_2_B_Pin, GPIO_PIN_RESET);
		HAL_GPIO_WritePin(SECOND_2_A_GPIO_Port, SECOND_2_A_Pin, GPIO_PIN_RESET);
		break;
	case 9:
		HAL_GPIO_WritePin(SECOND_2_D_GPIO_Port, SECOND_2_D_Pin, GPIO_PIN_SET);
		HAL_GPIO_WritePin(SECOND_2_C_GPIO_Port, SECOND_2_C_Pin, GPIO_PIN_RESET);
		HAL_GPIO_WritePin(SECOND_2_B_GPIO_Port, SECOND_2_B_Pin, GPIO_PIN_RESET);
		HAL_GPIO_WritePin(SECOND_2_A_GPIO_Port, SECOND_2_A_Pin, GPIO_PIN_SET);
		break;
	default:
		break;
	}
}

void BuzzerActivate(int delay) {
	HAL_GPIO_WritePin(BUZZER_GPIO_Port, BUZZER_Pin, GPIO_PIN_SET);
	HAL_Delay(delay);
	HAL_GPIO_WritePin(BUZZER_GPIO_Port, BUZZER_Pin, GPIO_PIN_RESET);
}

void DisplayHour(int digit) {
	int part1 = digit / 10;
	int part2 = digit % 10;
	SprintHour_1(part1);
	SprintHour_2(part2);
}

void DisplayMinute(int digit) {
	int part1 = digit / 10;
	int part2 = digit % 10;
	SprintMinute_1(part1);
	SprintMinute_2(part2);
}

void DisplaySecond(int digit) {
	int part1 = digit / 10;
	int part2 = digit % 10;
	SprintSecond_1(part1);
	SprintSecond_2(part2);
}

void displayData()
{
	displayHour(rtc.day);
	displayMinute(rtc.month);
	displaySecond(rtc.year-2000);
}

/* USER CODE END 0 */

int main(void) {

	/* MCU Configuration--------------------------------------------------------*/

	/* Reset of all peripherals, Initializes the Flash interface and the Systick. */
	HAL_Init();

	/* Configure the system clock */
	SystemClock_Config();

	/* Initialize all configured peripherals */
	MX_GPIO_Init();
	MX_USART2_UART_Init();
	MX_I2C1_Init();
	MX_USART1_UART_Init();
	/* USER CODE BEGIN 2 */
	NEO6_Init(&GpsState, &huart1);
	DS3231_Init(&rtc, &hi2c1);
	uint32_t Timer = HAL_GetTick();
	uint8_t update = 0;
	BuzzerActivate(40);

	/* USER CODE END 2 */

	/* Infinite loop */
	while (1) {

		/* USER CODE BEGIN 3 */
		if (update == 0) {
			NEO6_Task(&GpsState);
		}

		if ((HAL_GetTick() - Timer) > 100) {

			if (GpsState.Year != 00) {
				if (update == 0) {

					rtc_setup.hour = GpsState.Hour;
					rtc_setup.minute = GpsState.Minute;
					rtc_setup.second = GpsState.Second;
					rtc_setup.day = GpsState.Day;
					rtc_setup.month = GpsState.Month;
					rtc_setup.year = GpsState.Year + 2000;
					DS3231_SetDateTime(&rtc_setup);
					BuzzerActivate(200);
				}
				update = 1;

			}
			if (configMode != 2) {
				DS3231_GetDateTime(&rtc);
				DisplayHour(rtc.hour + timeOffset);
				DisplayMinute(rtc.minute);
				DisplaySecond(rtc.second);

				if (alarmHour == rtc.hour + timeOffset
						&& alarmMinute == rtc.minute && alarmDeactivate == 0) {
					BuzzerActivate(300);
					HAL_Delay(100);
					BuzzerActivate(300);
					alarmDeactivate = 1;
				}

			}
			if(configMode==3)
			{
				displayData();
			}
			Timer = HAL_GetTick();
		}

	}
	/* USER CODE END 3 */
}

void SystemClock_Config(void) {
	RCC_OscInitTypeDef RCC_OscInitStruct = { 0 };
	RCC_ClkInitTypeDef RCC_ClkInitStruct = { 0 };

	/** Configure the main internal regulator output voltage
	 */
	__HAL_RCC_PWR_CLK_ENABLE();
	__HAL_PWR_VOLTAGESCALING_CONFIG(PWR_REGULATOR_VOLTAGE_SCALE1);
	/** Initializes the CPU, AHB and APB busses clocks
	 */
	RCC_OscInitStruct.OscillatorType = RCC_OSCILLATORTYPE_HSI;
	RCC_OscInitStruct.HSIState = RCC_HSI_ON;
	RCC_OscInitStruct.HSICalibrationValue = RCC_HSICALIBRATION_DEFAULT;
	RCC_OscInitStruct.PLL.PLLState = RCC_PLL_ON;
	RCC_OscInitStruct.PLL.PLLSource = RCC_PLLSOURCE_HSI;
	RCC_OscInitStruct.PLL.PLLM = 16;
	RCC_OscInitStruct.PLL.PLLN = 336;
	RCC_OscInitStruct.PLL.PLLP = RCC_PLLP_DIV4;
	RCC_OscInitStruct.PLL.PLLQ = 4;
	if (HAL_RCC_OscConfig(&RCC_OscInitStruct) != HAL_OK) {
		Error_Handler();
	}
	/** Initializes the CPU, AHB and APB busses clocks
	 */
	RCC_ClkInitStruct.ClockType = RCC_CLOCKTYPE_HCLK | RCC_CLOCKTYPE_SYSCLK
			| RCC_CLOCKTYPE_PCLK1 | RCC_CLOCKTYPE_PCLK2;
	RCC_ClkInitStruct.SYSCLKSource = RCC_SYSCLKSOURCE_PLLCLK;
	RCC_ClkInitStruct.AHBCLKDivider = RCC_SYSCLK_DIV1;
	RCC_ClkInitStruct.APB1CLKDivider = RCC_HCLK_DIV2;
	RCC_ClkInitStruct.APB2CLKDivider = RCC_HCLK_DIV1;

	if (HAL_RCC_ClockConfig(&RCC_ClkInitStruct, FLASH_LATENCY_2) != HAL_OK) {
		Error_Handler();
	}
}

static void MX_I2C1_Init(void) {

	hi2c1.Instance = I2C1;
	hi2c1.Init.ClockSpeed = 100000;
	hi2c1.Init.DutyCycle = I2C_DUTYCYCLE_2;
	hi2c1.Init.OwnAddress1 = 0;
	hi2c1.Init.AddressingMode = I2C_ADDRESSINGMODE_7BIT;
	hi2c1.Init.DualAddressMode = I2C_DUALADDRESS_DISABLE;
	hi2c1.Init.OwnAddress2 = 0;
	hi2c1.Init.GeneralCallMode = I2C_GENERALCALL_DISABLE;
	hi2c1.Init.NoStretchMode = I2C_NOSTRETCH_DISABLE;
	if (HAL_I2C_Init(&hi2c1) != HAL_OK) {
		Error_Handler();
	}

}

static void MX_USART1_UART_Init(void) {

	huart1.Instance = USART1;
	huart1.Init.BaudRate = 9600;
	huart1.Init.WordLength = UART_WORDLENGTH_8B;
	huart1.Init.StopBits = UART_STOPBITS_1;
	huart1.Init.Parity = UART_PARITY_NONE;
	huart1.Init.Mode = UART_MODE_TX_RX;
	huart1.Init.HwFlowCtl = UART_HWCONTROL_NONE;
	huart1.Init.OverSampling = UART_OVERSAMPLING_16;
	if (HAL_UART_Init(&huart1) != HAL_OK) {
		Error_Handler();
	}

}

static void MX_USART2_UART_Init(void) {

	huart2.Instance = USART2;
	huart2.Init.BaudRate = 115200;
	huart2.Init.WordLength = UART_WORDLENGTH_8B;
	huart2.Init.StopBits = UART_STOPBITS_1;
	huart2.Init.Parity = UART_PARITY_NONE;
	huart2.Init.Mode = UART_MODE_TX_RX;
	huart2.Init.HwFlowCtl = UART_HWCONTROL_NONE;
	huart2.Init.OverSampling = UART_OVERSAMPLING_16;
	if (HAL_UART_Init(&huart2) != HAL_OK) {
		Error_Handler();
	}

}

static void MX_GPIO_Init(void) {
	GPIO_InitTypeDef GPIO_InitStruct = { 0 };

	/* GPIO Ports Clock Enable */
	__HAL_RCC_GPIOC_CLK_ENABLE();
	__HAL_RCC_GPIOH_CLK_ENABLE();
	__HAL_RCC_GPIOA_CLK_ENABLE();
	__HAL_RCC_GPIOB_CLK_ENABLE();
	__HAL_RCC_GPIOD_CLK_ENABLE();

	/*Configure GPIO pin Output Level */
	HAL_GPIO_WritePin(GPIOC,
			HOUR_1_D_Pin | HOUR_1_C_Pin | HOUR_1_A_Pin | HOUR_1_B_Pin
					| MINUTE_1_A_Pin | SECOND_1_B_Pin | BUZZER_Pin
					| HOUR_2_C_Pin | HOUR_2_B_Pin, GPIO_PIN_RESET);

	/*Configure GPIO pin Output Level */
	HAL_GPIO_WritePin(GPIOA,
			LD2_Pin | SECOND_2_D_Pin | SECOND_1_D_Pin | SECOND_1_A_Pin
					| SECOND_2_C_Pin | HOUR_2_A_Pin, GPIO_PIN_RESET);

	/*Configure GPIO pin Output Level */
	HAL_GPIO_WritePin(GPIOB,
			MINUTE_2_D_Pin | SECOND_2_A_Pin | MINUTE_2_C_Pin | SECOND_2_B_Pin
					| MINUTE_1_B_Pin | MINUTE_1_D_Pin | MINUTE_2_B_Pin
					| MINUTE_2_A_Pin | MINUTE_1_C_Pin | SECOND_1_C_Pin,
			GPIO_PIN_RESET);

	/*Configure GPIO pin Output Level */
	HAL_GPIO_WritePin(HOUR_2_D_GPIO_Port, HOUR_2_D_Pin, GPIO_PIN_RESET);

	/*Configure GPIO pin : B1_Pin */
	GPIO_InitStruct.Pin = B1_Pin;
	GPIO_InitStruct.Mode = GPIO_MODE_IT_FALLING;
	GPIO_InitStruct.Pull = GPIO_NOPULL;
	HAL_GPIO_Init(B1_GPIO_Port, &GPIO_InitStruct);

	/*Configure GPIO pins : HOUR_1_D_Pin HOUR_1_C_Pin HOUR_1_A_Pin HOUR_1_B_Pin
	 MINUTE_1_A_Pin SECOND_1_B_Pin BUZZER_Pin HOUR_2_C_Pin
	 HOUR_2_B_Pin */
	GPIO_InitStruct.Pin = HOUR_1_D_Pin | HOUR_1_C_Pin | HOUR_1_A_Pin
			| HOUR_1_B_Pin | MINUTE_1_A_Pin | SECOND_1_B_Pin | BUZZER_Pin
			| HOUR_2_C_Pin | HOUR_2_B_Pin;
	GPIO_InitStruct.Mode = GPIO_MODE_OUTPUT_PP;
	GPIO_InitStruct.Pull = GPIO_NOPULL;
	GPIO_InitStruct.Speed = GPIO_SPEED_FREQ_LOW;
	HAL_GPIO_Init(GPIOC, &GPIO_InitStruct);

	/*Configure GPIO pins : LD2_Pin SECOND_2_D_Pin SECOND_1_D_Pin SECOND_1_A_Pin
	 SECOND_2_C_Pin HOUR_2_A_Pin */
	GPIO_InitStruct.Pin = LD2_Pin | SECOND_2_D_Pin | SECOND_1_D_Pin
			| SECOND_1_A_Pin | SECOND_2_C_Pin | HOUR_2_A_Pin;
	GPIO_InitStruct.Mode = GPIO_MODE_OUTPUT_PP;
	GPIO_InitStruct.Pull = GPIO_NOPULL;
	GPIO_InitStruct.Speed = GPIO_SPEED_FREQ_LOW;
	HAL_GPIO_Init(GPIOA, &GPIO_InitStruct);

	/*Configure GPIO pins : BUTTON_2_Pin BUTTON_1_Pin */
	GPIO_InitStruct.Pin = BUTTON_2_Pin | BUTTON_1_Pin;
	GPIO_InitStruct.Mode = GPIO_MODE_IT_FALLING;
	GPIO_InitStruct.Pull = GPIO_PULLUP;
	HAL_GPIO_Init(GPIOC, &GPIO_InitStruct);

	/*Configure GPIO pins : MINUTE_2_D_Pin SECOND_2_A_Pin MINUTE_2_C_Pin SECOND_2_B_Pin
	 MINUTE_1_B_Pin MINUTE_1_D_Pin MINUTE_2_B_Pin MINUTE_2_A_Pin
	 MINUTE_1_C_Pin SECOND_1_C_Pin */
	GPIO_InitStruct.Pin = MINUTE_2_D_Pin | SECOND_2_A_Pin | MINUTE_2_C_Pin
			| SECOND_2_B_Pin | MINUTE_1_B_Pin | MINUTE_1_D_Pin | MINUTE_2_B_Pin
			| MINUTE_2_A_Pin | MINUTE_1_C_Pin | SECOND_1_C_Pin;
	GPIO_InitStruct.Mode = GPIO_MODE_OUTPUT_PP;
	GPIO_InitStruct.Pull = GPIO_NOPULL;
	GPIO_InitStruct.Speed = GPIO_SPEED_FREQ_LOW;
	HAL_GPIO_Init(GPIOB, &GPIO_InitStruct);

	/*Configure GPIO pin : BUTTON_3_Pin */
	GPIO_InitStruct.Pin = BUTTON_3_Pin;
	GPIO_InitStruct.Mode = GPIO_MODE_IT_FALLING;
	GPIO_InitStruct.Pull = GPIO_PULLUP;
	HAL_GPIO_Init(BUTTON_3_GPIO_Port, &GPIO_InitStruct);

	/*Configure GPIO pin : HOUR_2_D_Pin */
	GPIO_InitStruct.Pin = HOUR_2_D_Pin;
	GPIO_InitStruct.Mode = GPIO_MODE_OUTPUT_PP;
	GPIO_InitStruct.Pull = GPIO_NOPULL;
	GPIO_InitStruct.Speed = GPIO_SPEED_FREQ_LOW;
	HAL_GPIO_Init(HOUR_2_D_GPIO_Port, &GPIO_InitStruct);

	/* EXTI interrupt init*/
	HAL_NVIC_SetPriority(EXTI9_5_IRQn, 0, 0);
	HAL_NVIC_EnableIRQ(EXTI9_5_IRQn);

	HAL_NVIC_SetPriority(EXTI15_10_IRQn, 0, 0);
	HAL_NVIC_EnableIRQ(EXTI15_10_IRQn);

}

/* USER CODE BEGIN 4 */
void HAL_UART_RxCpltCallback(UART_HandleTypeDef *huart) {
	if (huart == GpsState.neo6_huart) {
		NEO6_ReceiveUartChar(&GpsState);
	}
}

void HAL_GPIO_EXTI_Callback(uint16_t GPIO_PIN) {

	if (GPIO_PIN == BUTTON_1_Pin) {
		if (muttexButton1 == 0) {
			if (configMode == 1) {
				configMode = 0;
			} else if (configMode == 2) {
				alarmHour = alarmHour + 1;
				DisplayHour(alarmHour);
				if (alarmHour >= 24) {
					alarmHour = 0;
				}
			} else {
				configMode = 1;
			}
			muttexButton1 = 1;
		}

	}

	if (GPIO_PIN == BUTTON_2_Pin) {
		if (muttexButton2 == 0) {
			if (configMode == 1) {
				timeOffset = timeOffset + 1;
			} else if (configMode == 2) {
				configMode = 0;
			} else {
				configMode = 2;
				alarmDeactivate = 0;
				DisplayHour(0);
				DisplayMinute(0);
				DisplaySecond(0);
			}

			muttexButton2 = 1;
		}
	}
	if (GPIO_PIN == BUTTON_3_Pin) {
		if (muttexButton3 == 0) {
			if (configMode == 1) {
				timeOffset = timeOffset - 1;
			} else if (configMode == 2) {
				alarmMinute = alarmMinute + 1;
				DisplayMinute(alarmMinute);
				if (alarmMinute >= 60) {
					alarmMinute = 0;
				}
			}
			else
			{
				if(configMode==3)
				{
					configMode=0;
				}
				else
				{
					configMode=3;
				}

			}
			muttexButton3 = 1;
		}
	}

	muttexButton1 = 0;
	muttexButton2 = 0;
	muttexButton3 = 0;
}
/* USER CODE END 4 */

void Error_Handler(void) {
}

/************************ (C) COPYRIGHT STMicroelectronics *****END OF FILE****/
